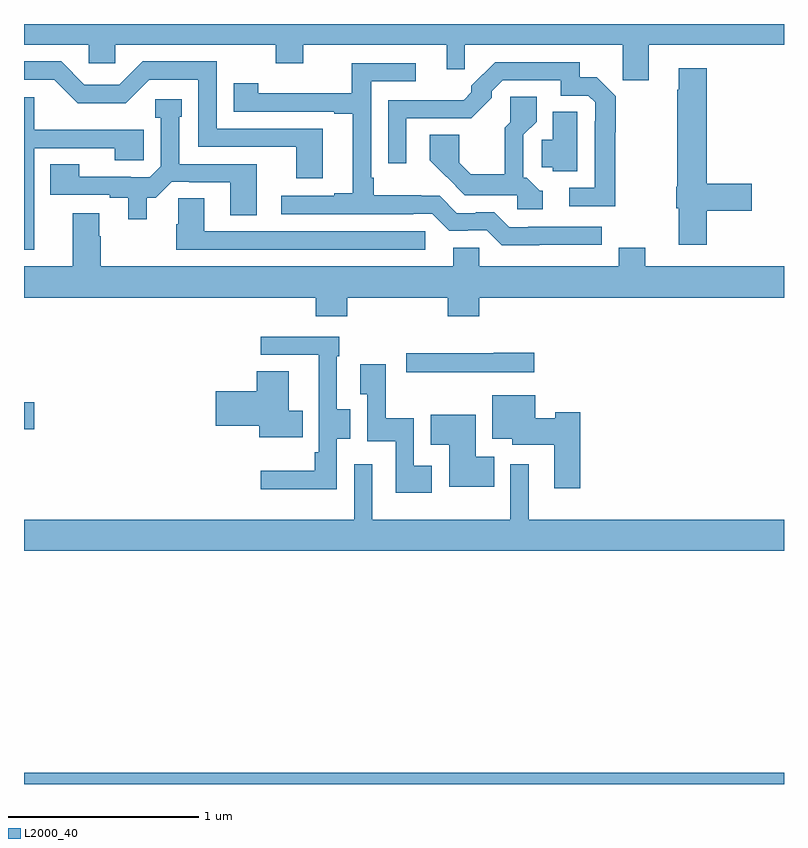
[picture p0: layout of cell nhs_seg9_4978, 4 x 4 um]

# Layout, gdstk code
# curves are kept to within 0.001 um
import gdstk
lib = gdstk.Library(unit=1e-6, precision=1e-09)
def R(c, l, rs):  # rectangles x0, y0, x1, y1
    for r in rs: c.add(gdstk.rectangle(r[:2], r[2:], *l))
def P(c, l, *ps):  # polygons
    for p in ps: c.add(gdstk.Polygon(p, *l))
L2000_40 = (2000, 40)

nhs_seg9_4978 = lib.new_cell('nhs_seg9_4978')
R(nhs_seg9_4978, L2000_40, [(399,1220.5,403,1220.56), (399,1222.366,399.055,1222.508)])
P(nhs_seg9_4978, L2000_40, [(402.289,1224.392),(403,1224.392),(403,1224.5),(399,1224.5),(399,1224.392),(399.342,1224.392),(399.342,1224.294),(399.48,1224.294),(399.48,1224.392),(400.324,1224.392),(400.324,1224.293),(400.471,1224.293),(400.471,1224.392),(401.225,1224.392),(401.225,1224.263),(401.321,1224.263),(401.321,1224.392),(402.151,1224.392),(402.151,1224.204),(402.289,1224.204)],
  [(400.573,1223.949),(400.014,1223.949),(400.014,1224.303),(399.624,1224.303),(399.501,1224.18),(399.318,1224.18),(399.195,1224.303),(399,1224.303),(399,1224.207),(399.158,1224.207),(399.282,1224.083),(399.536,1224.083),(399.66,1224.207),(399.918,1224.207),(399.918,1223.853),(400.433,1223.853),(400.433,1223.688),(400.573,1223.688)],
  [(402.112,1223.929),(402.114,1223.929),(402.114,1224.12),(402.014,1224.22),(401.925,1224.22),(401.925,1224.3),(401.48,1224.3),(401.355,1224.175),(401.355,1224.141),(401.314,1224.1),(400.917,1224.099),(400.917,1223.766),(401.013,1223.766),(401.013,1224.003),(401.353,1224.003),(401.463,1224.113),(401.463,1224.147),(401.52,1224.204),(401.826,1224.204),(401.826,1224.123),(401.97,1224.123),(402.006,1224.087),(402.006,1223.987),(402.003,1223.987),(402.003,1223.637),(401.871,1223.637),(401.871,1223.541),(402.112,1223.541)],
  [(401.711,1223.337),(402.04,1223.337),(402.04,1223.433),(401.653,1223.433),(401.653,1223.43),(401.553,1223.43),(401.475,1223.508),(401.378,1223.508),(401.378,1223.505),(401.277,1223.505),(401.187,1223.595),(401.09,1223.595),(401.09,1223.599),(400.84,1223.599),(400.84,1223.692),(400.827,1223.692),(400.827,1224.198),(401.062,1224.198),(401.062,1224.294),(400.726,1224.294),(400.726,1224.136),(400.232,1224.136),(400.232,1224.187),(400.104,1224.187),(400.104,1224.039),(400.634,1224.039),(400.634,1224.027),(400.73,1224.027),(400.73,1223.608),(400.634,1223.608),(400.634,1223.595),(400.353,1223.595),(400.353,1223.499),(401.048,1223.499),(401.048,1223.502),(401.148,1223.502),(401.238,1223.412),(401.336,1223.412),(401.336,1223.415),(401.436,1223.415),(401.515,1223.336)],
  [(402.593,1223.518),(402.829,1223.518),(402.829,1223.66),(402.593,1223.66),(402.593,1224.268),(402.446,1224.268),(402.446,1224.155),(402.439,1224.155),(402.439,1223.643),(402.433,1223.643),(402.433,1223.529),(402.446,1223.529),(402.446,1223.337),(402.593,1223.337)],
  [(401.731,1223.622),(401.715,1223.622),(401.646,1223.691),(401.628,1223.691),(401.628,1223.916),(401.698,1223.986),(401.698,1224.118),(401.559,1224.118),(401.559,1223.983),(401.53,1223.954),(401.53,1223.709),(401.351,1223.709),(401.29,1223.77),(401.29,1223.918),(401.136,1223.918),(401.136,1223.782),(401.321,1223.598),(401.595,1223.598),(401.595,1223.526),(401.731,1223.526)],
  [(399.054,1223.847),(399.478,1223.847),(399.478,1223.782),(399.631,1223.782),(399.631,1223.943),(399.521,1223.943),(399.521,1223.944),(399.054,1223.944),(399.054,1224.115),(399,1224.115),(399,1223.312),(399.054,1223.312)],
  [(399.646,1223.586),(399.693,1223.586),(399.777,1223.67),(399.871,1223.67),(399.871,1223.667),(400.085,1223.667),(400.085,1223.494),(400.225,1223.494),(400.225,1223.763),(399.816,1223.763),(399.816,1224.012),(399.829,1224.012),(399.829,1224.105),(399.69,1224.105),(399.69,1224.007),(399.72,1224.007),(399.72,1223.751),(399.663,1223.694),(399.563,1223.694),(399.563,1223.697),(399.291,1223.697),(399.291,1223.762),(399.139,1223.762),(399.139,1223.601),(399.452,1223.601),(399.452,1223.586),(399.548,1223.586),(399.548,1223.472),(399.646,1223.472)],
  [(401.913,1224.038),(401.783,1224.038),(401.783,1223.891),(401.724,1223.891),(401.724,1223.745),(401.784,1223.745),(401.784,1223.726),(401.913,1223.726)],
  [(401.113,1223.409),(399.949,1223.409),(399.949,1223.582),(399.811,1223.582),(399.811,1223.445),(399.802,1223.445),(399.802,1223.313),(401.113,1223.313)],
  [(402.131,1223.323),(402.131,1223.224),(401.397,1223.224),(401.397,1223.322),(401.258,1223.322),(401.258,1223.224),(399.405,1223.224),(399.405,1223.384),(399.397,1223.384),(399.397,1223.503),(399.257,1223.503),(399.257,1223.224),(399,1223.224),(399,1223.06),(400.535,1223.06),(400.535,1222.961),(400.7,1222.961),(400.7,1223.06),(401.231,1223.06),(401.231,1222.961),(401.396,1222.961),(401.396,1223.06),(403,1223.06),(403,1223.224),(402.271,1223.224),(402.271,1223.323)],
  [(400.647,1222.318),(400.717,1222.318),(400.717,1222.473),(400.647,1222.473),(400.647,1222.751),(400.66,1222.751),(400.66,1222.854),(400.245,1222.854),(400.245,1222.758),(400.55,1222.758),(400.55,1222.561),(400.551,1222.561),(400.551,1222.246),(400.531,1222.246),(400.531,1222.15),(400.245,1222.15),(400.245,1222.052),(400.647,1222.052)],
  [(401.369,1222.668),(401.686,1222.668),(401.686,1222.769),(401.473,1222.769),(401.473,1222.766),(401.013,1222.766),(401.013,1222.666),(401.369,1222.666)],
  [(401.146,1222.174),(401.052,1222.174),(401.052,1222.426),(400.905,1222.426),(400.905,1222.708),(400.769,1222.708),(400.769,1222.552),(400.806,1222.552),(400.806,1222.304),(400.956,1222.304),(400.956,1222.034),(401.146,1222.034)],
  [(400.466,1222.465),(400.393,1222.465),(400.393,1222.673),(400.226,1222.673),(400.226,1222.568),(400.008,1222.568),(400.008,1222.385),(400.238,1222.385),(400.238,1222.325),(400.466,1222.325)],
  [(401.927,1222.457),(401.796,1222.457),(401.796,1222.426),(401.692,1222.426),(401.692,1222.546),(401.465,1222.546),(401.465,1222.316),(401.57,1222.316),(401.57,1222.286),(401.792,1222.286),(401.792,1222.056),(401.927,1222.056)],
  [(401.474,1222.222),(401.377,1222.222),(401.377,1222.444),(401.141,1222.444),(401.141,1222.286),(401.237,1222.286),(401.237,1222.064),(401.474,1222.064)],
  [(403,1221.892),(401.656,1221.892),(401.656,1222.183),(401.559,1222.183),(401.559,1221.892),(400.833,1221.892),(400.833,1222.183),(400.737,1222.183),(400.737,1221.892),(399,1221.892),(399,1221.728),(403,1221.728)])

lib.write_gds('nhs_seg9_4978.gds')
